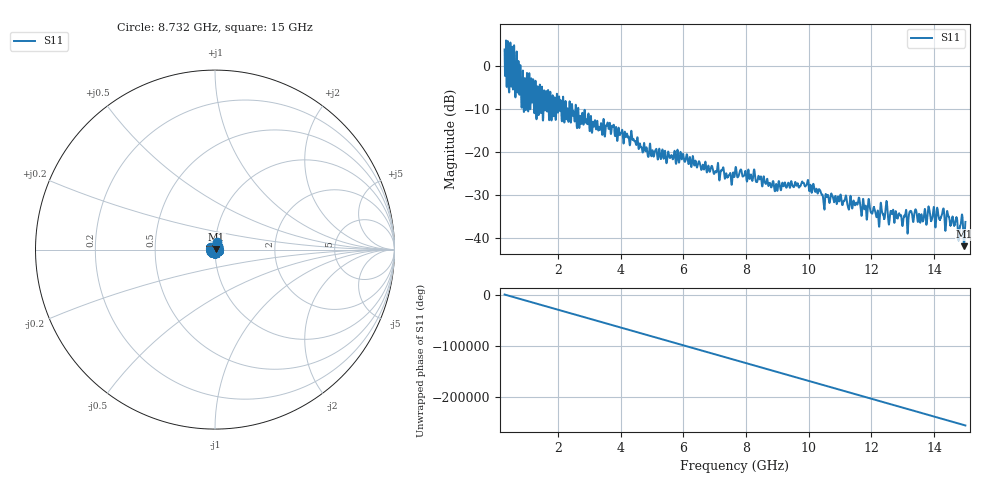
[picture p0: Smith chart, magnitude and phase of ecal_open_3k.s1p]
# GHZ S RI R 50.0
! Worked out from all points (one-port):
!   12801 points, 300 MHz to 15 GHz, reference 50 ohm
!   lowest |S11| = -41.9 dB at 14.96 GHz (marker M1), VSWR 1.02, Z = 50.7 + j0.393 ohm
!   |S11| at or under -10 dB: 2.46 GHz to 2.561 GHz (101 MHz wide, 4.02 % of centre); 2.579 GHz to 2.643 GHz (63.49 MHz wide, 2.43 % of centre); 2.651 GHz to end of sweep (the widest 3 of 25)
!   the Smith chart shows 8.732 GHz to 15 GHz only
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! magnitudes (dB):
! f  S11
! 300 MHz  3.8
! 386.1 MHz  0.1
! 704.2 MHz  -4.7
! 744.4 MHz  0.6
! 907.5 MHz  -10.1
! 1.149 GHz  -2.9
! 1.316 GHz  -12.4
! 1.623 GHz  -5.9
! 1.861 GHz  -11.5
! 2.028 GHz  -7.8
! 2.138 GHz  -12.4
! 3.975 GHz  -16.1
! 4.843 GHz  -19.6
! 5.812 GHz  -19.5
! 7.495 GHz  -24.9
! 7.65 GHz  -24.7
! 8.957 GHz  -27.5
! 9.488 GHz  -27.9
! 9.926 GHz  -27.7
! 10.46 GHz  -31.0
! 11.32 GHz  -30.5
! 11.95 GHz  -32.8
! 12.2 GHz  -33.6
! 12.45 GHz  -33.5
! 13.16 GHz  -38.7
! 14.26 GHz  -34.2
! 14.96 GHz  -41.9
! 15 GHz  -36.2
